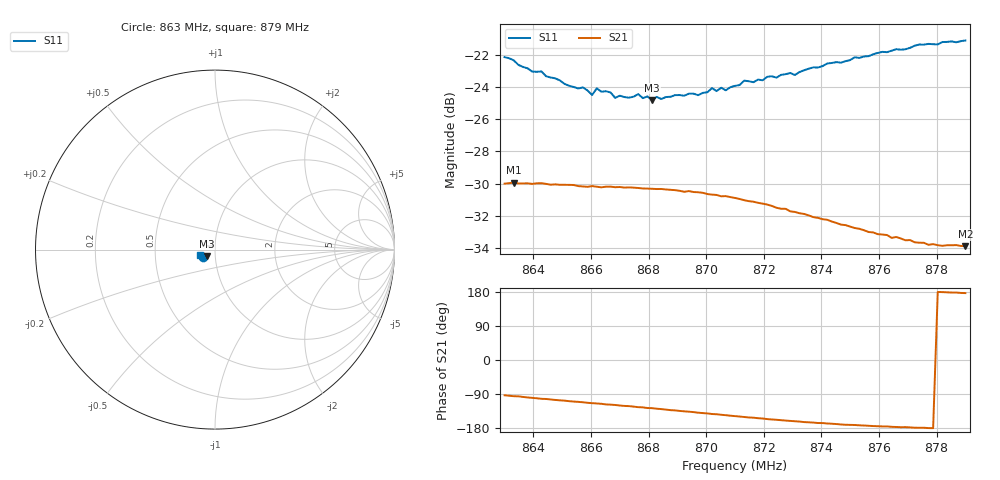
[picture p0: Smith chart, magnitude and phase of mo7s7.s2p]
# HZ S RI R 50
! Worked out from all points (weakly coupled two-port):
!   101 points, 863 MHz to 879 MHz, reference 50 ohm
!   highest |S21| = -29.94 dB at 863.32 MHz (marker M1); lowest = -33.9 dB at 879 MHz (marker M2)
!   lowest |S11| = -24.8 dB at 868.12 MHz (marker M3), VSWR 1.12, Z = 45.6 - j3.31 ohm
!   |S11| at or under -10 dB: start of sweep to end of sweep
!   S12 and S22 are empty: the file has one direction only
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8.63e8  -0.0679 -0.0391  -0.0017 -0.0316  0 0  0 0
8.6332e8  -0.0659 -0.0388  -0.00307 -0.0317  0 0  0 0
8.6396e8  -0.0608 -0.0359  -0.00546 -0.0311  0 0  0 0
8.6428e8  -0.0597 -0.0378  -0.00683 -0.031  0 0  0 0
8.6524e8  -0.0547 -0.0328  -0.01 -0.0297  0 0  0 0
8.6572e8  -0.0524 -0.0351  -0.0114 -0.0288  0 0  0 0
8.6604e8  -0.0498 -0.0329  -0.0126 -0.0284  0 0  0 0
8.662e8  -0.0522 -0.0346  -0.0129 -0.0281  0 0  0 0
8.6668e8  -0.0495 -0.0353  -0.0144 -0.0274  0 0  0 0
8.6684e8  -0.0474 -0.0342  -0.0148 -0.027  0 0  0 0
8.6764e8  -0.0475 -0.0368  -0.0173 -0.0253  0 0  0 0
8.6812e8  -0.0448 -0.0361  -0.0184 -0.0243  0 0  0 0
8.6844e8  -0.0441 -0.0377  -0.0194 -0.0235  0 0  0 0
8.6972e8  -0.0436 -0.0406  -0.0225 -0.0195  0 0  0 0
8.702e8  -0.0457 -0.043  -0.0232 -0.0178  0 0  0 0
8.7068e8  -0.0444 -0.0429  -0.0239 -0.0163  0 0  0 0
8.71e8  -0.0469 -0.0432  -0.0242 -0.0151  0 0  0 0
8.7132e8  -0.0483 -0.0452  -0.0244 -0.0139  0 0  0 0
8.7308e8  -0.0522 -0.045  -0.0245 -0.00815  0 0  0 0
8.7372e8  -0.0554 -0.0473  -0.024 -0.00637  0 0  0 0
8.7644e8  -0.0709 -0.0414  -0.0214 -0.00136  0 0  0 0
8.79e8  -0.0836 -0.0282  -0.0202 0.00123  0 0  0 0
